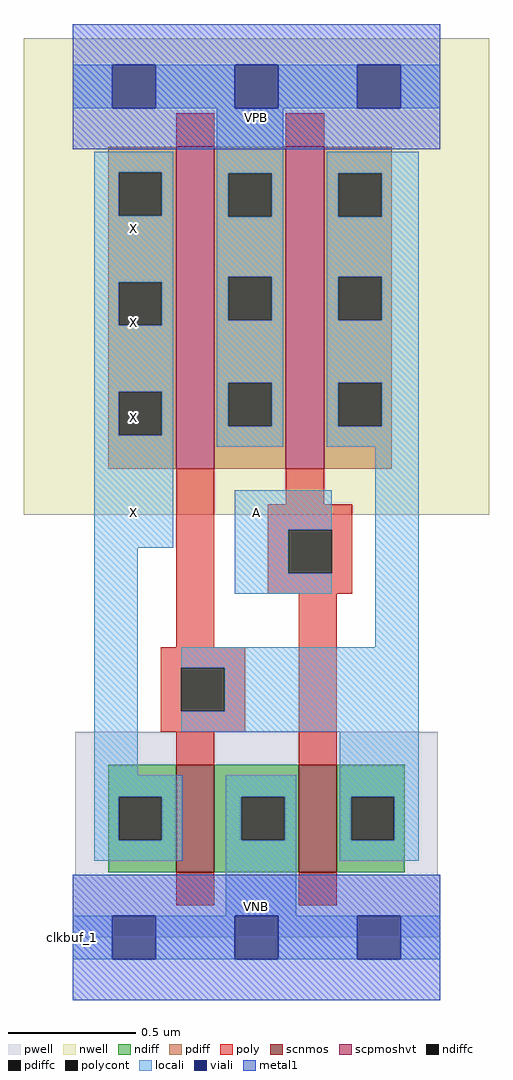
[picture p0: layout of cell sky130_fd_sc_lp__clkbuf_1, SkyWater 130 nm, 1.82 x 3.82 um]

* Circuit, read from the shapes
.subckt sky130_fd_sc_lp__clkbuf_1 A VGND VNB VPB VPWR X
XM1 VGND n1 X VNB sky130_fd_pr__nfet_01v8 w=0.42 l=0.15
XM2 n1 A VGND VNB sky130_fd_pr__nfet_01v8 w=0.42 l=0.15
XM3 VPWR n1 X VPB sky130_fd_pr__pfet_01v8_hvt w=1.26 l=0.15
XM4 n1 A VPWR VPB sky130_fd_pr__pfet_01v8_hvt w=1.26 l=0.15
.ends

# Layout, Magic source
magic
tech sky130A
magscale 1 2
<< nwell >>
rect -38 331 326 704
<< pwell >>
rect 2 49 286 161
rect 0 0 288 49
<< scnmos >>
rect 81 51 111 135
rect 177 51 207 135
<< scpmoshvt >>
rect 81 367 111 619
rect 167 367 197 619
<< ndiff >>
rect 28 110 81 135
rect 28 76 36 110
rect 70 76 81 110
rect 28 51 81 76
rect 111 110 177 135
rect 111 76 132 110
rect 166 76 177 110
rect 111 51 177 76
rect 207 110 260 135
rect 207 76 218 110
rect 252 76 260 110
rect 207 51 260 76
<< pdiff >>
rect 28 599 81 619
rect 28 565 36 599
rect 70 565 81 599
rect 28 513 81 565
rect 28 479 36 513
rect 70 479 81 513
rect 28 427 81 479
rect 28 393 36 427
rect 70 393 81 427
rect 28 367 81 393
rect 111 598 167 619
rect 111 564 122 598
rect 156 564 167 598
rect 111 517 167 564
rect 111 483 122 517
rect 156 483 167 517
rect 111 434 167 483
rect 111 400 122 434
rect 156 400 167 434
rect 111 367 167 400
rect 197 598 250 619
rect 197 564 208 598
rect 242 564 250 598
rect 197 517 250 564
rect 197 483 208 517
rect 242 483 250 517
rect 197 434 250 483
rect 197 400 208 434
rect 242 400 250 434
rect 197 367 250 400
<< ndiffc >>
rect 36 76 70 110
rect 132 76 166 110
rect 218 76 252 110
<< pdiffc >>
rect 36 565 70 599
rect 36 479 70 513
rect 36 393 70 427
rect 122 564 156 598
rect 122 483 156 517
rect 122 400 156 434
rect 208 564 242 598
rect 208 483 242 517
rect 208 400 242 434
<< poly >>
rect 81 619 111 645
rect 167 619 197 645
rect 81 227 111 367
rect 167 339 197 367
rect 153 319 219 339
rect 153 285 169 319
rect 203 285 219 319
rect 153 269 219 285
rect 69 211 135 227
rect 69 177 85 211
rect 119 177 135 211
rect 69 161 135 177
rect 81 135 111 161
rect 177 135 207 269
rect 81 25 111 51
rect 177 25 207 51
<< polycont >>
rect 169 285 203 319
rect 85 177 119 211
<< locali >>
rect 0 649 31 683
rect 65 649 127 683
rect 161 649 223 683
rect 257 649 288 683
rect 17 599 79 615
rect 17 565 36 599
rect 70 565 79 599
rect 17 513 79 565
rect 17 479 36 513
rect 70 479 79 513
rect 17 427 79 479
rect 17 393 36 427
rect 70 393 79 427
rect 17 305 79 393
rect 113 598 165 649
rect 113 564 122 598
rect 156 564 165 598
rect 113 517 165 564
rect 113 483 122 517
rect 156 483 165 517
rect 113 434 165 483
rect 113 400 122 434
rect 156 400 165 434
rect 113 384 165 400
rect 199 598 271 615
rect 199 564 208 598
rect 242 564 271 598
rect 199 517 271 564
rect 199 483 208 517
rect 242 483 271 517
rect 199 434 271 483
rect 199 400 208 434
rect 242 400 271 434
rect 199 384 271 400
rect 127 319 203 350
rect 17 127 51 305
rect 127 285 169 319
rect 127 269 203 285
rect 237 227 271 384
rect 85 211 271 227
rect 119 177 271 211
rect 85 161 271 177
rect 17 110 86 127
rect 17 76 36 110
rect 70 76 86 110
rect 17 60 86 76
rect 120 110 175 127
rect 120 76 132 110
rect 166 76 175 110
rect 120 17 175 76
rect 209 110 271 161
rect 209 76 218 110
rect 252 76 271 110
rect 209 60 271 76
rect 0 -17 31 17
rect 65 -17 127 17
rect 161 -17 223 17
rect 257 -17 288 17
<< viali >>
rect 31 649 65 683
rect 127 649 161 683
rect 223 649 257 683
rect 31 -17 65 17
rect 127 -17 161 17
rect 223 -17 257 17
<< metal1 >>
rect 0 683 288 715
rect 0 649 31 683
rect 65 649 127 683
rect 161 649 223 683
rect 257 649 288 683
rect 0 617 288 649
rect 0 17 288 49
rect 0 -17 31 17
rect 65 -17 127 17
rect 161 -17 223 17
rect 257 -17 288 17
rect 0 -49 288 -17
<< labels >>
flabel pwell s 0 0 288 49 0 FreeSans 200 0 0 0 VNB
port 3 nsew ground bidirectional
flabel nwell s 0 617 288 666 0 FreeSans 200 0 0 0 VPB
port 4 nsew power bidirectional
rlabel comment s 0 0 0 0 4 clkbuf_1
flabel metal1 s 0 617 288 666 0 FreeSans 340 0 0 0 VPWR
port 5 nsew power bidirectional
flabel metal1 s 0 0 288 49 0 FreeSans 340 0 0 0 VGND
port 2 nsew ground bidirectional
flabel locali s 127 316 161 350 0 FreeSans 340 0 0 0 A
port 1 nsew signal input
flabel locali s 31 316 65 350 0 FreeSans 340 0 0 0 X
port 6 nsew signal output
flabel locali s 31 390 65 424 0 FreeSans 340 0 0 0 X
port 6 nsew signal output
flabel locali s 31 464 65 498 0 FreeSans 340 0 0 0 X
port 6 nsew signal output
flabel locali s 31 538 65 572 0 FreeSans 340 0 0 0 X
port 6 nsew signal output
<< properties >>
string LEFsite unit
string LEFclass CORE
string FIXED_BBOX 0 0 288 666
string GDS_FILE $PDKPATH/libs.ref/sky130_fd_sc_lp/gds/sky130_fd_sc_lp.gds
string LEFsymmetry X Y R90
string GDS_END 880372
string GDS_START 876400
<< end >>
